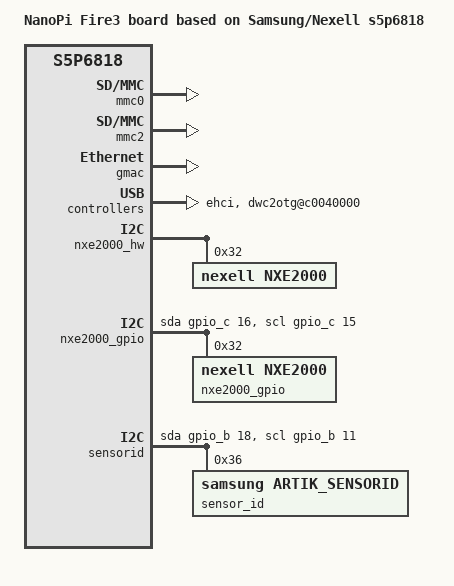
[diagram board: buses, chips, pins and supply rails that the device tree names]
/*
 * (C) Copyright 2016 Nexell
 * Hyunseok, Jung <hsjung@nexell.co.kr>
 *
 * SPDX-License-Identifier: GPL-2.0+
 */

/dts-v1/;
#include "s5p6818-artik710.dtsi"

/ {
	/* model = "Samsung artik710 raptor board based on Nexell s5p6818"; */
	model = "NanoPi Fire3 board based on Samsung/Nexell s5p6818";
	cpu-model = "S5p6818";

	compatible = "samsung,artik710-raptor", "samsung,artik710",
		   "nexell,s5p6818";

	mmc0:mmc@c0062000 {
		frequency = <50000000>;
		nexell,drive_dly = <0x0>;
		nexell,drive_shift = <0x03>;
		nexell,sample_dly = <0x00>;
		nexell,sample_shift = <0x02>;
		status = "okay";
	};

	mmc2:mmc@c0069000 {
		frequency = <50000000>;
		nexell,drive_dly = <0x0>;
		nexell,drive_shift = <0x03>;
		nexell,sample_dly = <0x00>;
		nexell,sample_shift = <0x02>;
		nexell,bus-width = <4>;
		index = <2>;
		status = "okay";
	};

	gmac:ethernet@c0060000 {
		mac-address = [000000000000]; /* Filled in by U-Boot */
		status = "okay";
	};

	ehci:usbhost@c0030000 {
		samsung,vbus-gpio = <&gpio_a 16 0>;
		status = "okay";
	};

	dwc2otg@c0040000 {
		status = "okay";
	};

	nxe2000_hw:i2c@c00a6000 {
		status ="okay";
		nexell,i2c-sda-delay = <100>;
		nexell,i2c-max-bus-freq = <66000>;

		nxe2000@32 {
			compatible = "nexell,nxe2000";
			reg = <0x32>;
		};
	};

	nxe2000_gpio:i2c_gpio@1 {
		compatible = "i2c-gpio";
		#address-cells = <1>;
		#size-cells = <0>;
		gpios = <&gpio_c 16 1>,	/* SDA */
		      <&gpio_c 15 1>;	/* SCL */

		i2c-gpio,delay-us = <3>;
		nxe2000_gpio@32 {
			compatible = "nexell,nxe2000";
			reg = <0x32>;
		};
	};

	sensorid:i2c_gpio@2 {
		compatible = "i2c-gpio";
		#address-cells = <1>;
		#size-cells = <0>;
		gpios = <&gpio_b 18 1>,
			<&gpio_b 11 1>;

		i2c-gpio,delay-us = <10>;
		sensor_id@36 {
			compatible = "samsung,artik_sensorid";
			reg = <0x36>;
		};
	};

	voltage-regulators {
		dcdc0: BUCK0 {
			regulator-name = "dcdc1";
			regulator-min-microvolt = <600000>;
			regulator-max-microvolt = <3500000>;
			regulator-always-on = <1>;
			regulator-boot-on = <1>;
		};

		dcdc1: BUCK1 {
			regulator-name = "dcdc2";
			regulator-min-microvolt = <600000>;
			regulator-max-microvolt = <3500000>;
			regulator-always-on = <1>;
			regulator-boot-on = <1>;
		};

		dcdc2: BUCK2 {
			regulator-name = "dcdc3";
			regulator-min-microvolt = <600000>;
			regulator-max-microvolt = <3500000>;
			regulator-always-on = <1>;
			regulator-boot-on = <1>;
		};

		dcdc3: BUCK3 {
			regulator-name = "dcdc4";
			regulator-min-microvolt = <600000>;
			regulator-max-microvolt = <3500000>;
			regulator-always-on = <1>;
			regulator-boot-on = <1>;
		};

		dcdc4: BUCK4 {
			regulator-name = "dcdc5";
			regulator-min-microvolt = <600000>;
			regulator-max-microvolt = <3500000>;
			regulator-always-on = <1>;
			regulator-boot-on = <1>;
		};

		ldo0: LDO0 {
			regulator-min-microvolt = <900000>;
			regulator-max-microvolt = <3500000>;
			regulator-name = "ldo1";
		};

		ldo1: LDO1 {
			regulator-min-microvolt = <900000>;
			regulator-max-microvolt = <3500000>;
			regulator-name = "ldo2";
		};

		ldo2: LDO2 {
			regulator-min-microvolt = <900000>;
			regulator-max-microvolt = <3500000>;
			regulator-name = "ldo3";
		};

		ldo3: LDO3 {
			regulator-min-microvolt = <900000>;
			regulator-max-microvolt = <3500000>;
			regulator-name = "ldo4";
		};

		ldo4: LDO4 {
			regulator-min-microvolt = <600000>;
			regulator-max-microvolt = <3500000>;
			regulator-name = "ldo5";
		};

		ldo5: LDO5 {
			regulator-min-microvolt = <600000>;
			regulator-max-microvolt = <3500000>;
			regulator-name = "ldo6";
			regulator-always-on = <1>;
			regulator-boot-on = <1>;
		};

		ldo6: LDO6 {
			regulator-min-microvolt = <900000>;
			regulator-max-microvolt = <3500000>;
			regulator-name = "ldo7";
		};

		ldo7: LDO7 {
			regulator-min-microvolt = <900000>;
			regulator-max-microvolt = <3500000>;
			regulator-name = "ldo8";
		};

		ldo8: LDO8 {
			regulator-min-microvolt = <900000>;
			regulator-max-microvolt = <3500000>;
			regulator-name = "ldo9";
		};

		ldo9: LDO9 {
			regulator-min-microvolt = <900000>;
			regulator-max-microvolt = <3500000>;
			regulator-name = "ldo10";
		};

		ldortc1: LDO10 {
			regulator-min-microvolt = <1700000>;
			regulator-max-microvolt = <3500000>;
			regulator-name = "ldortc1";
			regulator-always-on = <1>;
			regulator-boot-on = <1>;
		};

		ldortc2: LDO11 {
			regulator-min-microvolt = <1700000>;
			regulator-max-microvolt = <3500000>;
			regulator-name = "ldortc2";
			regulator-always-on = <1>;
			regulator-boot-on = <1>;
		};
	}; /* voltage-regulators */
};

